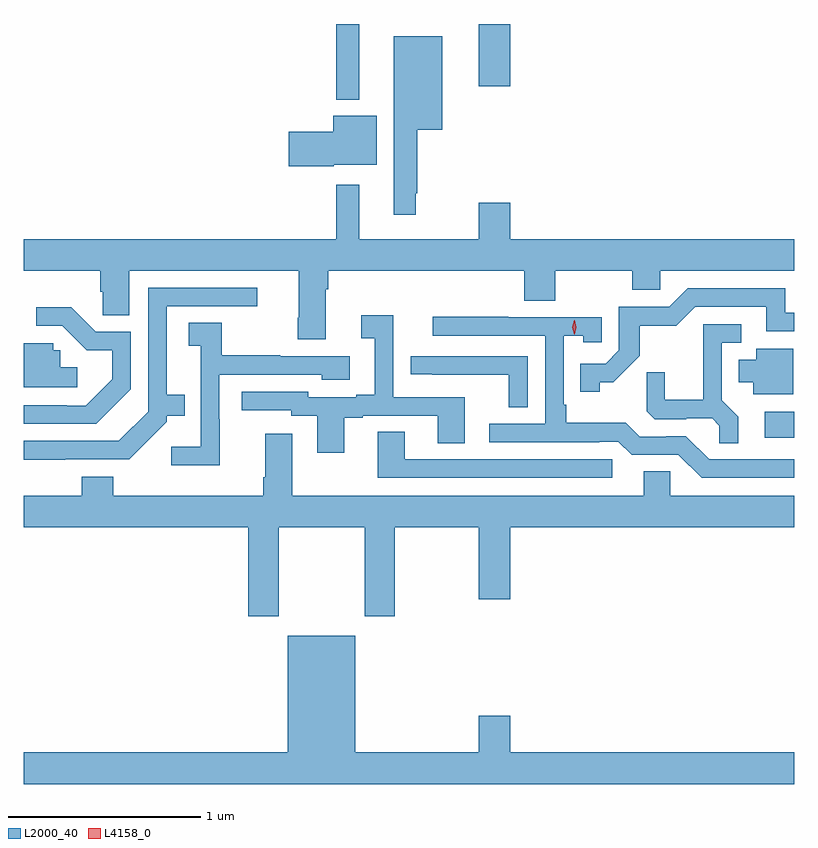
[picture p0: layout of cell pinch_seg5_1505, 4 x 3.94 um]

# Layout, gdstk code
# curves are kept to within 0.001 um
import gdstk
lib = gdstk.Library(unit=1e-6, precision=1e-09)
def R(c, l, rs):  # rectangles x0, y0, x1, y1
    for r in rs: c.add(gdstk.rectangle(r[:2], r[2:], *l))
def P(c, l, *ps):  # polygons
    for p in ps: c.add(gdstk.Polygon(p, *l))
L2000_40 = (2000, 40)
L4158_0 = (4158, 0)

pinch_seg5_1505 = lib.new_cell('pinch_seg5_1505')
R(pinch_seg5_1505, L2000_40, [(322.335,866.549,322.49,866.685), (320.112,868.304,320.233,868.696), (320.852,868.374,321.016,868.696)])
P(pinch_seg5_1505, L2000_40, [(320.525,867.817),(320.533,867.817),(320.533,868.148),(320.662,868.148),(320.662,868.633),(320.411,868.633),(320.411,867.705),(320.525,867.705)],
  [(320.1,867.965),(320.323,867.965),(320.323,868.219),(320.096,868.219),(320.096,868.136),(319.866,868.136),(319.866,867.958),(320.1,867.958)],
  [(320.059,867.32),(320.072,867.32),(320.072,867.416),(321.089,867.416),(321.089,867.259),(321.249,867.259),(321.249,867.416),(321.649,867.416),(321.649,867.318),(321.795,867.318),(321.795,867.416),(322.49,867.416),(322.49,867.58),(321.016,867.58),(321.016,867.769),(320.852,867.769),(320.852,867.58),(320.233,867.58),(320.233,867.862),(320.112,867.862),(320.112,867.58),(318.49,867.58),(318.49,867.416),(318.887,867.416),(318.887,867.306),(318.901,867.306),(318.901,867.184),(319.039,867.184),(319.039,867.416),(319.919,867.416),(319.919,867.172),(319.912,867.172),(319.912,867.06),(320.059,867.06)],
  [(318.707,866.436),(319.038,866.436),(319.233,866.631),(319.233,866.663),(319.325,866.663),(319.325,866.773),(319.234,866.773),(319.234,867.231),(319.702,867.231),(319.702,867.327),(319.137,867.327),(319.137,866.685),(318.984,866.532),(318.49,866.532),(318.49,866.435)],
  [(321.48,866.837),(321.55,866.837),(321.688,866.974),(321.688,867.13),(321.877,867.13),(321.975,867.228),(322.343,867.228),(322.343,867.102),(322.49,867.102),(322.49,867.198),(322.442,867.198),(322.442,867.324),(321.936,867.324),(321.84,867.228),(321.579,867.228),(321.579,867.003),(321.51,866.934),(321.379,866.934),(321.379,866.787),(321.48,866.787)],
  [(319.047,866.801),(319.047,867.099),(318.864,867.099),(318.736,867.227),(318.555,867.227),(318.555,867.129),(318.69,867.129),(318.817,867.002),(318.95,867.002),(318.95,866.852),(318.813,866.715),(318.713,866.715),(318.713,866.718),(318.49,866.718),(318.49,866.622),(318.868,866.622)],
  [(320.155,866.652),(320.251,866.652),(320.251,866.664),(320.639,866.664),(320.639,866.521),(320.779,866.521),(320.779,866.76),(320.409,866.76),(320.409,867.184),(320.241,867.184),(320.241,867.064),(320.312,867.064),(320.312,866.773),(320.216,866.773),(320.216,866.76),(319.968,866.76),(319.968,866.787),(319.623,866.787),(319.623,866.691),(319.878,866.691),(319.878,866.664),(320.015,866.664),(320.015,866.472),(320.155,866.472)],
  [(322.49,866.436),(322.047,866.436),(321.927,866.556),(321.826,866.556),(321.826,866.553),(321.687,866.553),(321.614,866.626),(321.307,866.626),(321.307,866.719),(321.294,866.719),(321.294,867.077),(321.393,867.077),(321.393,867.045),(321.489,867.045),(321.489,867.174),(321.005,867.174),(321.005,867.177),(320.613,867.177),(320.613,867.078),(321.198,867.078),(321.198,866.622),(320.907,866.622),(320.907,866.526),(321.476,866.526),(321.476,866.529),(321.576,866.529),(321.645,866.46),(321.888,866.46),(322.008,866.34),(322.49,866.34)],
  [(319.509,866.645),(319.506,866.645),(319.506,866.877),(320.037,866.877),(320.037,866.849),(320.182,866.849),(320.182,866.973),(319.823,866.973),(319.823,866.976),(319.519,866.976),(319.519,867.146),(319.347,867.146),(319.347,867.025),(319.41,867.025),(319.41,866.503),(319.257,866.503),(319.257,866.405),(319.509,866.405)],
  [(322.199,866.657),(322.113,866.743),(322.113,867.042),(322.213,867.042),(322.213,867.138),(322.016,867.138),(322.016,866.746),(321.818,866.746),(321.818,866.889),(321.724,866.889),(321.724,866.687),(321.765,866.646),(321.93,866.646),(321.93,866.649),(322.064,866.649),(322.101,866.612),(322.101,866.521),(322.199,866.521)],
  [(318.769,866.914),(318.681,866.914),(318.681,867.003),(318.645,867.003),(318.645,867.039),(318.49,867.039),(318.49,866.811),(318.769,866.811)],
  [(322.483,867.01),(322.292,867.01),(322.292,866.953),(322.202,866.953),(322.202,866.837),(322.277,866.837),(322.277,866.774),(322.483,866.774)],
  [(321.105,866.973),(320.499,866.973),(320.499,866.878),(320.611,866.878),(320.611,866.877),(321.007,866.877),(321.007,866.707),(321.105,866.707)],
  [(321.544,866.436),(320.467,866.436),(320.467,866.579),(320.327,866.579),(320.327,866.34),(321.544,866.34)],
  [(319.815,866.084),(320.26,866.084),(320.26,865.623),(320.415,865.623),(320.415,866.084),(320.852,866.084),(320.852,865.71),(321.016,865.71),(321.016,866.084),(322.49,866.084),(322.49,866.248),(321.846,866.248),(321.846,866.375),(321.707,866.375),(321.707,866.248),(319.885,866.248),(319.885,866.569),(319.745,866.569),(319.745,866.344),(319.733,866.344),(319.733,866.248),(318.956,866.248),(318.956,866.347),(318.791,866.347),(318.791,866.248),(318.49,866.248),(318.49,866.084),(319.655,866.084),(319.655,865.623),(319.815,865.623)],
  [(322.49,864.916),(321.016,864.916),(321.016,865.105),(320.852,865.105),(320.852,864.916),(320.212,864.916),(320.212,865.522),(319.862,865.522),(319.862,864.916),(318.49,864.916),(318.49,864.752),(322.49,864.752)])
P(pinch_seg5_1505, L4158_0, [(321.348,867.087),(321.348,867.087),(321.338,867.123),(321.348,867.159),(321.348,867.159),(321.349,867.159),(321.358,867.123),(321.349,867.087)])

lib.write_gds('pinch_seg5_1505.gds')
